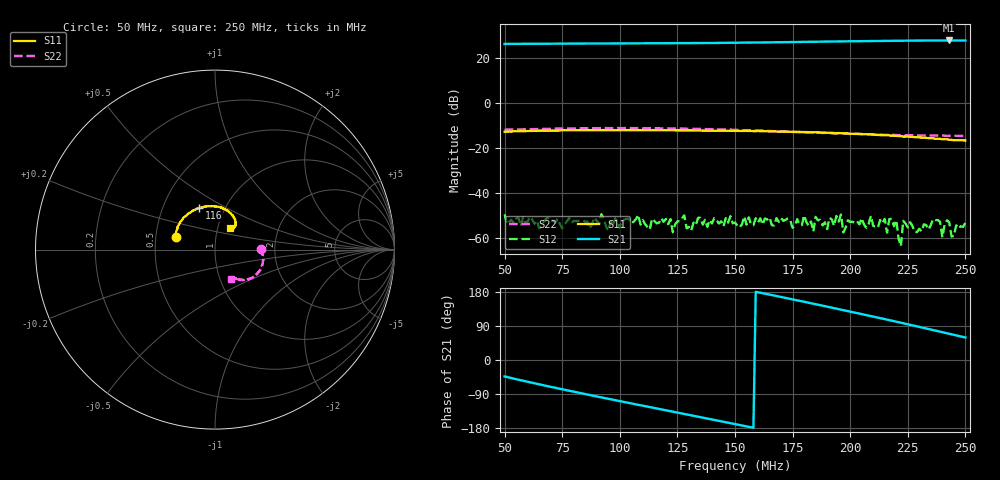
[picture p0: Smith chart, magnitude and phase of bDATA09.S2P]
! Network Analyzer HP8753D.06.12 Serial No. 3410A09394
! 12 Jun 2019  14:22:04
# HZ  S  DB R 50
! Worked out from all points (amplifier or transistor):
!   201 points, 50 MHz to 250 MHz, reference 50 ohm
!   highest |S21| = 27.7 dB at 243 MHz (marker M1)
!   |S21| within 3 dB of that: start of sweep to end of sweep
!   unconditionally stable (mu >= 1): start of sweep to end of sweep
!   at 83 MHz: K = 8.55, MAG = 26.9 dB, |S12| = -52.1 dB
!   at 150 MHz: K = 9.27, MAG = 27.2 dB, |S12| = -53.1 dB
!   at 250 MHz: K = 8.79, MAG = 28.0 dB, |S12| = -53.1 dB
!   S11 on the Smith chart (normalised r, x): 50 MHz: 0.64, +0.09; 116 MHz: 0.76, +0.37; 250 MHz: 1.15, +0.28
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5e7  -12.81 162.5  26.18 -43.3  -49.36 138.3  -11.92 1.2
6.5e7  -12.25 149.4  26.25 -64.3  -55.48 109.7  -11.58 -4.5
7.4e7  -12.22 142.1  26.27 -76.1  -53.69 109.9  -11.40 -8.0
8.4e7  -12.07 134.0  26.30 -88.8  -52.04 101.5  -11.26 -12.1
9.9e7  -12.10 123.4  26.33 -107.3  -52.57 86.2  -11.11 -18.5
1.16e8  -12.10 111.1  26.42 -128.0  -53.38 69.0  -11.25 -26.0
1.17e8  -12.13 110.6  26.44 -129.2  -53.13 56.0  -11.25 -26.7
1.34e8  -12.21 99.5  26.55 -149.7  -50.94 54.7  -11.54 -33.9
1.5e8  -12.40 89.4  26.68 -169.1  -53.05 17.9  -11.92 -40.1
1.6e8  -12.42 82.9  26.80 178.7  -52.94 12.7  -12.29 -43.2
1.68e8  -12.70 77.8  26.93 168.8  -51.08 3.0  -12.56 -45.9
1.76e8  -12.81 73.3  27.05 158.7  -54.38 2.7  -12.83 -48.1
1.84e8  -13.05 68.5  27.14 148.6  -56.98 -12.0  -13.09 -50.2
1.99e8  -13.58 60.7  27.35 128.9  -52.04 -24.7  -13.61 -52.7
2.08e8  -13.95 56.1  27.42 117.1  -53.69 -45.3  -13.89 -53.7
2.17e8  -14.40 52.4  27.53 105.0  -51.48 -47.3  -14.05 -55.3
2.22e8  -14.74 51.2  27.59 98.4  -63.52 -27.2  -14.28 -56.7
2.23e8  -14.89 50.9  27.60 97.1  -52.23 -55.9  -14.24 -55.8
2.29e8  -15.19 50.1  27.66 88.8  -57.27 -109.4  -14.45 -57.6
2.36e8  -15.72 49.2  27.69 79.0  -51.48 -64.1  -14.44 -58.7
2.43e8  -16.24 50.7  27.71 69.3  -53.00 -75.4  -14.54 -59.9
2.5e8  -16.65 54.3  27.70 59.4  -53.09 -91.1  -14.65 -61.9
